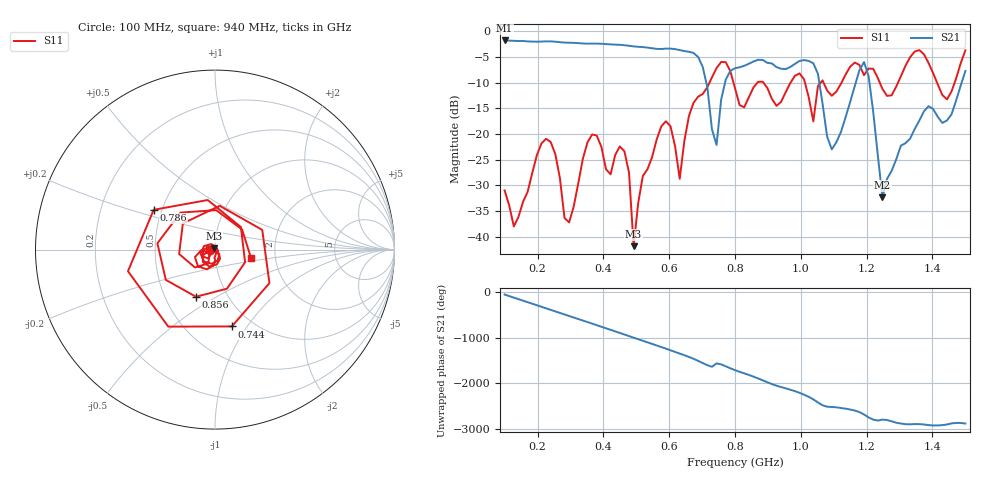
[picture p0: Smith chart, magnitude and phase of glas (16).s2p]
! NanoVNA-App
! Date: 2025-09-25 15:55:36
! Start: 100MHz Stop: 1,5GHz Points: 101
! S-Parameter data: F S11 S21 S12 S22
# Hz S RI R 50
!  Frequency  S11_Real  S11_Imag  S21_Real  S21_Imag  S12_Real  S12_Imag  S22_Real  S22_Imag
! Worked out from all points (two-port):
!   101 points, 100 MHz to 1.5 GHz, reference 50 ohm
!   highest |S21| = -1.80 dB at 100 MHz (marker M1); lowest = -32.3 dB at 1.248 GHz (marker M2)
!   |S21| within 3 dB of the highest: start of sweep to 684.2 MHz
!   lowest |S11| = -41.8 dB at 492 MHz (marker M3), VSWR 1.02, Z = 49.5 + j0.64 ohm
!   |S11| at or under -10 dB: start of sweep to 722.5 MHz; 795.4 MHz to 868.1 MHz (72.71 MHz wide, 8.74 % of centre); 886.1 MHz to 968.8 MHz (82.63 MHz wide, 8.91 % of centre) (the widest 3 of 7)
!   S12 and S22 are empty: the file has one direction only
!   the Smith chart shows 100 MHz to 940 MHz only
!   S11 on the Smith chart (normalised r, x): 100 MHz: 0.95, -0.01; 744 MHz: 0.80, -0.85; 786 MHz: 0.45, +0.24; 856 MHz: 0.71, -0.41; 940 MHz: 1.49, -0.14
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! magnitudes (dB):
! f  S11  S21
! 100 MHz  -31.0  -1.8
! 128 MHz  -38.0  -1.9
! 226 MHz  -20.9  -2.0
! 296 MHz  -37.2  -2.2
! 338 MHz  -24.7  -2.4
! 464 MHz  -23.4  -2.7
! 492 MHz  -41.8  -3.0
! 576 MHz  -18.5  -3.5
! 632 MHz  -28.7  -3.7
! 702 MHz  -12.2  -7.0
! 744 MHz  -7.2  -22.1
! 786 MHz  -7.8  -7.7
! 800 MHz  -11.1  -7.2
! 856 MHz  -11.0  -5.9
! 940 MHz  -13.8  -7.3
! 996 MHz  -8.2  -5.8
! 1.038 GHz  -17.5  -6.2
! 1.094 GHz  -12.6  -23.0
! 1.192 GHz  -8.6  -6.0
! 1.248 GHz  -11.2  -32.3
! 1.276 GHz  -12.5  -27.1
! 1.5 GHz  -3.7  -7.7
